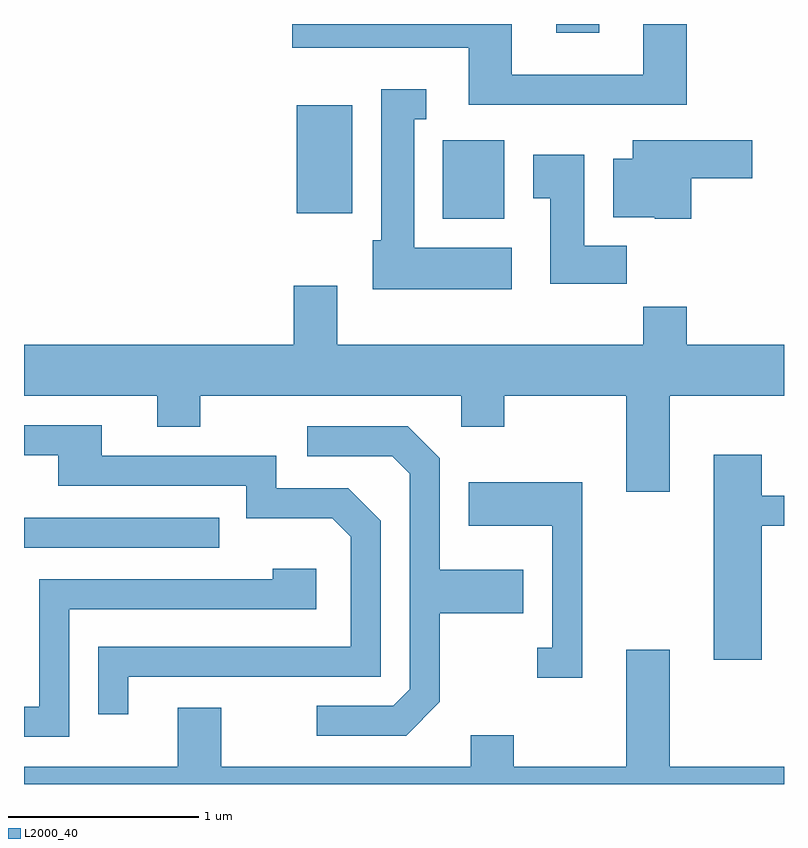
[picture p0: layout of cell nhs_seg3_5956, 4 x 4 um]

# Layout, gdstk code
import gdstk
lib = gdstk.Library(unit=1e-6, precision=1e-09)
def R(c, l, rs):  # rectangles x0, y0, x1, y1
    for r in rs: c.add(gdstk.rectangle(r[:2], r[2:], *l))
def P(c, l, *ps):  # polygons
    for p in ps: c.add(gdstk.Polygon(p, *l))
L2000_40 = (2000, 40)

nhs_seg3_5956 = lib.new_cell('nhs_seg3_5956')
R(nhs_seg3_5956, L2000_40, [(359.611,1205.136,360.638,1205.294), (361.816,1206.866,362.139,1207.279), (361.046,1206.896,361.339,1207.464), (362.411,1207.846,362.639,1207.892)])
P(nhs_seg3_5956, L2000_40, [(363.099,1207.892),(362.871,1207.892),(362.871,1207.624),(362.179,1207.624),(362.179,1207.892),(361.023,1207.892),(361.023,1207.766),(361.951,1207.766),(361.951,1207.466),(363.099,1207.466)],
  [(362.179,1206.714),(361.664,1206.714),(361.664,1207.391),(361.728,1207.391),(361.728,1207.549),(361.491,1207.549),(361.491,1206.754),(361.446,1206.754),(361.446,1206.496),(362.179,1206.496)],
  [(363.124,1207.081),(363.444,1207.081),(363.444,1207.279),(362.816,1207.279),(362.816,1207.184),(362.711,1207.184),(362.711,1206.876),(362.93,1206.876),(362.93,1206.866),(363.124,1206.866)],
  [(362.784,1206.724),(362.559,1206.724),(362.559,1207.204),(362.291,1207.204),(362.291,1206.976),(362.381,1206.976),(362.381,1206.526),(362.784,1206.526)],
  [(363.009,1205.936),(363.611,1205.936),(363.611,1206.204),(363.099,1206.204),(363.099,1206.404),(362.871,1206.404),(362.871,1206.204),(361.259,1206.204),(361.259,1206.514),(361.031,1206.514),(361.031,1206.204),(359.611,1206.204),(359.611,1205.936),(360.311,1205.936),(360.311,1205.771),(360.539,1205.771),(360.539,1205.936),(361.911,1205.936),(361.911,1205.771),(362.139,1205.771),(362.139,1205.936),(362.781,1205.936),(362.781,1205.431),(363.009,1205.431)],
  [(360.159,1204.456),(361.489,1204.456),(361.489,1205.277),(361.317,1205.449),(360.939,1205.449),(360.939,1205.619),(360.019,1205.619),(360.019,1205.779),(359.611,1205.779),(359.611,1205.621),(359.791,1205.621),(359.791,1205.461),(360.781,1205.461),(360.781,1205.291),(361.234,1205.291),(361.331,1205.194),(361.331,1204.614),(360.001,1204.614),(360.001,1204.258),(360.159,1204.258)],
  [(361.799,1204.324),(361.799,1204.791),(362.239,1204.791),(362.239,1205.019),(361.799,1205.019),(361.799,1205.607),(361.632,1205.774),(361.103,1205.774),(361.103,1205.616),(361.549,1205.616),(361.641,1205.524),(361.641,1204.392),(361.554,1204.304),(361.153,1204.304),(361.153,1204.146),(361.622,1204.146)],
  [(363.494,1205.251),(363.611,1205.251),(363.611,1205.409),(363.494,1205.409),(363.494,1205.624),(363.241,1205.624),(363.241,1204.546),(363.494,1204.546)],
  [(362.549,1205.479),(361.951,1205.479),(361.951,1205.251),(362.391,1205.251),(362.391,1204.609),(362.313,1204.609),(362.313,1204.451),(362.549,1204.451)],
  [(359.849,1204.811),(361.149,1204.811),(361.149,1205.024),(360.921,1205.024),(360.921,1204.969),(359.691,1204.969),(359.691,1204.299),(359.611,1204.299),(359.611,1204.141),(359.849,1204.141)],
  [(363.611,1203.984),(363.009,1203.984),(363.009,1204.599),(362.781,1204.599),(362.781,1203.984),(362.189,1203.984),(362.189,1204.149),(361.961,1204.149),(361.961,1203.984),(360.649,1203.984),(360.649,1204.294),(360.421,1204.294),(360.421,1203.984),(359.611,1203.984),(359.611,1203.892),(363.611,1203.892)])

lib.write_gds('nhs_seg3_5956.gds')
